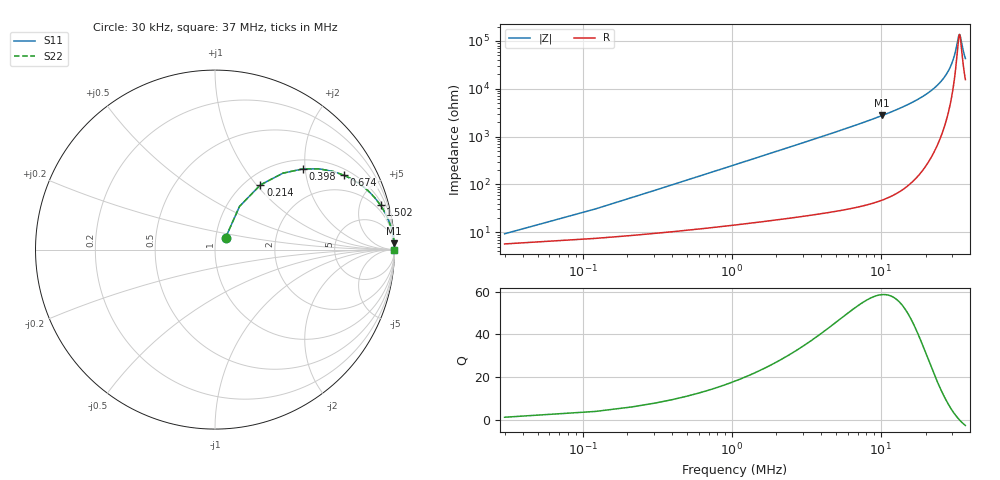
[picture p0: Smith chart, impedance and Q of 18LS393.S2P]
! Coilcraft 1812LS-393 Chip Inductor
! 8 August 2002
# MHZ S MA R 50
!Freq  MagS11  AngS11  MagS21  AngS21  MagS12  AngS12  MagS22  AngS22
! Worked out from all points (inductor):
!   403 points, 30 kHz to 37 MHz, reference 50 ohm
!   read as one part in series: L = 39 uH near 214 kHz
!   highest Q = 58.7 at 10.24 MHz (marker M1), where L = 43 uH
!   self-resonance near 33.79 MHz
!   S11 on the Smith chart (normalised r, x): 30 kHz: 1.11, +0.15; 214 kHz: 1.17, +1.05; 398 kHz: 1.21, +1.95; 674 kHz: 1.24, +3.30; 1.502 MHz: 1.32, +7.38; 37 MHz: open
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0.03  0.08789 48.1  0.9436 -4.0  0.9436 -4.0  0.08789 48.1
0.214  0.4407 54.9  0.8292 -25.8  0.8292 -25.8  0.4407 54.9
0.306  0.5696 48.4  0.7535 -34.4  0.7535 -34.4  0.5696 48.4
0.398  0.6662 42.5  0.6793 -41.5  0.6793 -41.5  0.6662 42.5
0.674  0.8296 30.0  0.5008 -55.8  0.5008 -55.8  0.8296 30.0
1.042  0.9145 20.9  0.3573 -65.9  0.3573 -65.9  0.9145 20.9
1.502  0.9547 15.0  0.2586 -72.5  0.2586 -72.5  0.9547 15.0
2.33  0.9796 9.8  0.1707 -78.3  0.1707 -78.3  0.9796 9.8
3.342  0.9896 6.9  0.1196 -81.6  0.1196 -81.6  0.9896 6.9
6.194  0.9967 3.6  0.06345 -85.2  0.06345 -85.2  0.9967 3.6
10.242  0.9987 2.1  0.03613 -87.0  0.03613 -87.0  0.9987 2.1
12.358  0.9991 1.6  0.02857 -87.4  0.02857 -87.4  0.9991 1.6
18.522  0.9995 0.9  0.0154 -87.6  0.0154 -87.6  0.9995 0.9
24.686  0.9995 0.4  0.007714 -86.0  0.007714 -86.0  0.9995 0.4
28.274  0.9994 0.2  0.004361 -82.3  0.004361 -82.3  0.9994 0.2
30.85  0.9994 0.1  0.002294 -73.8  0.002294 -73.8  0.9994 0.1
31.862  0.9993 0.1  0.001573 -64.8  0.001573 -64.8  0.9993 0.1
33.242  0.9993 0.0  0.0008194 -29.5  0.0008194 -29.5  0.9993 0.0
33.794  0.9993 0.0  0.0007322 -0.5  0.0007322 -0.5  0.9993 0.0
34.254  0.9993 -0.0  0.000813 23.0  0.000813 23.0  0.9993 -0.0
35.818  0.9992 -0.1  0.001608 59.9  0.001608 59.9  0.9992 -0.1
37  0.9991 -0.1  0.002335 68.5  0.002335 68.5  0.9991 -0.1
